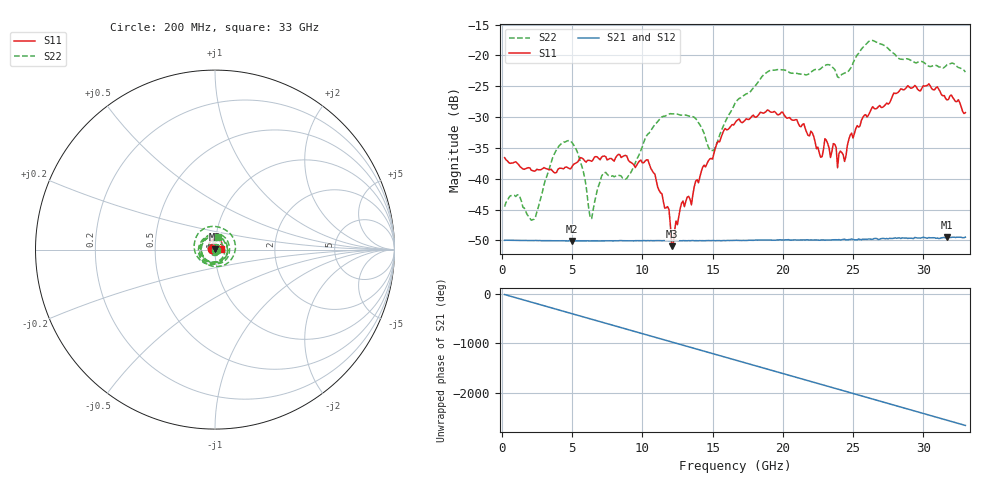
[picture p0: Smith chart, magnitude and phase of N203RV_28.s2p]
# GHZ S RI R 50
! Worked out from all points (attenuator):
!   329 points, 200 MHz to 33 GHz, reference 50 ohm
!   highest |S21| = -49.44 dB at 31.7 GHz (marker M1); lowest = -50.1 dB at 5 GHz (marker M2)
!   lowest |S11| = -50.9 dB at 12.1 GHz (marker M3), VSWR 1.01, Z = 49.7 + j0.0932 ohm
!   |S11| at or under -10 dB: start of sweep to end of sweep
!   |S22| runs from -46.7 to -17.6 dB; largest |S21 - S12| = 7.2e-05
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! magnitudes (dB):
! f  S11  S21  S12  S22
! 200 MHz  -36.6  -50.0  -49.9  -44.5
! 2.3 GHz  -38.8  -50.0  -50.0  -46.6
! 3.8 GHz  -39.1  -50.1  -50.0  -35.7
! 5 GHz  -38.0  -50.1  -50.1  -34.1
! 5.7 GHz  -36.6  -50.1  -50.1  -38.0
! 6.4 GHz  -37.2  -50.1  -50.1  -46.4
! 7.2 GHz  -36.3  -50.1  -50.1  -39.2
! 8.9 GHz  -36.3  -50.0  -50.0  -39.9
! 11.2 GHz  -41.9  -50.0  -50.0  -30.4
! 11.9 GHz  -45.0  -50.0  -50.0  -29.5
! 12.1 GHz  -50.9  -50.0  -50.0  -29.5
! 12.8 GHz  -43.9  -50.0  -50.0  -29.7
! 14.9 GHz  -36.7  -50.0  -50.0  -35.4
! 16.6 GHz  -30.9  -50.0  -50.0  -27.8
! 22.1 GHz  -32.6  -49.9  -49.9  -22.6
! 22.7 GHz  -36.5  -49.9  -49.9  -22.2
! 23.7 GHz  -34.4  -49.9  -49.9  -22.3
! 23.9 GHz  -38.2  -49.9  -49.9  -23.5
! 26.2 GHz  -29.2  -49.8  -49.8  -17.6
! 27.6 GHz  -27.7  -49.6  -49.7  -19.1
! 31.7 GHz  -27.2  -49.4  -49.6  -21.5
! 33 GHz  -29.3  -49.5  -49.5  -22.7
